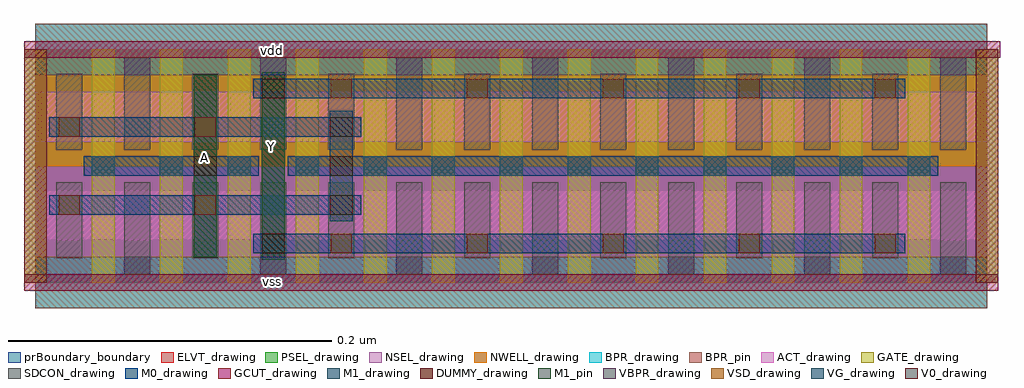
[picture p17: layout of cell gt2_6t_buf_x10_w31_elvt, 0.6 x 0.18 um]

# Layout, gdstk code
import gdstk
lib = gdstk.Library(unit=1e-6, precision=5e-10)
def R(c, l, rs):  # rectangles x0, y0, x1, y1
    for r in rs: c.add(gdstk.rectangle(r[:2], r[2:], *l))
def A(c, l, x, y, w, h, nx, ny, dx, dy):  # array of equal rectangles
    R(c, l, [(x+i*dx, y+j*dy, x+i*dx+w, y+j*dy+h) for i in range(nx) for j in range(ny)])
NWELL_drawing = (1, 0)
ACT_drawing = (2, 0)
GATE_drawing = (3, 0)
DUMMY_drawing = (4, 0)
GCUT_drawing = (5, 0)
NSEL_drawing = (6, 0)
PSEL_drawing = (7, 0)
BPR_drawing = (8, 0)
BPR_pin = (8, 251)
VBPR_drawing = (9, 0)
SDCON_drawing = (10, 0)
VSD_drawing = (11, 0)
VG_drawing = (12, 0)
M0_drawing = (20, 0)
V0_drawing = (22, 0)
M1_drawing = (25, 0)
M1_pin = (25, 251)
ELVT_drawing = (94, 0)
prBoundary_boundary = (235, 250)

gt2_6t_buf_x10_w31_elvt = lib.new_cell('gt2_6t_buf_x10_w31_elvt')
R(gt2_6t_buf_x10_w31_elvt, NWELL_drawing, [(0,0.072,0.588,0.144)])
R(gt2_6t_buf_x10_w31_elvt, ACT_drawing, [(0,0.026,0.588,0.057), (0,0.087,0.588,0.118)])
A(gt2_6t_buf_x10_w31_elvt, GATE_drawing, -0.007, 0, 0.014, 0.144, 10, 1, 0.042, 0)
A(gt2_6t_buf_x10_w31_elvt, GATE_drawing, 0.371, 0, 0.014, 0.144, 3, 1, 0.042, 0)
A(gt2_6t_buf_x10_w31_elvt, GATE_drawing, 0.455, 0, 0.014, 0.144, 3, 1, 0.042, 0)
R(gt2_6t_buf_x10_w31_elvt, GATE_drawing, [(0.539,0,0.553,0.144), (0.581,0,0.595,0.144)])
R(gt2_6t_buf_x10_w31_elvt, DUMMY_drawing, [(-0.007,0,0.007,0.144), (0.581,0,0.595,0.144)])
R(gt2_6t_buf_x10_w31_elvt, GCUT_drawing, [(-0.007,-0.005,0.595,0.005), (-0.007,0.139,0.596,0.149)])
R(gt2_6t_buf_x10_w31_elvt, NSEL_drawing, [(0,0,0.588,0.072)])
R(gt2_6t_buf_x10_w31_elvt, PSEL_drawing, [(0,0.072,0.588,0.144)])
R(gt2_6t_buf_x10_w31_elvt, BPR_drawing, [(0,-0.016,0.588,0.016), (0,0.128,0.588,0.16)])
R(gt2_6t_buf_x10_w31_elvt, BPR_pin, [(0,-0.016,0.588,0.016), (0,0.128,0.588,0.16)])
A(gt2_6t_buf_x10_w31_elvt, VBPR_drawing, 0.055, 0.005, 0.016, 0.011, 7, 2, 0.084, 0.123)
A(gt2_6t_buf_x10_w31_elvt, SDCON_drawing, 0.055, 0.005, 0.016, 0.057, 7, 2, 0.084, 0.077)
A(gt2_6t_buf_x10_w31_elvt, SDCON_drawing, 0.013, 0.015, 0.016, 0.047, 7, 2, 0.084, 0.067)
A(gt2_6t_buf_x10_w31_elvt, VSD_drawing, 0.1825, 0.018, 0.013, 0.012, 5, 2, 0.084, 0.096)
R(gt2_6t_buf_x10_w31_elvt, VSD_drawing, [(0.0145,0.042,0.0275,0.054), (0.0985,0.042,0.1115,0.054), (0.0145,0.09,0.0275,0.102), (0.0985,0.09,0.1115,0.102)])
A(gt2_6t_buf_x10_w31_elvt, VG_drawing, 0.035, 0.066, 0.014, 0.012, 13, 1, 0.042, 0)
R(gt2_6t_buf_x10_w31_elvt, M0_drawing, [(0.1345,0.018,0.5375,0.03), (0.0085,0.042,0.2015,0.054), (0.03,0.066,0.138,0.078), (0.156,0.066,0.558,0.078), (0.0085,0.09,0.2015,0.102), (0.1345,0.114,0.5375,0.126)])
A(gt2_6t_buf_x10_w31_elvt, V0_drawing, 0.182, 0.042, 0.014, 0.012, 1, 3, 0, 0.024)
R(gt2_6t_buf_x10_w31_elvt, V0_drawing, [(0.14,0.018,0.154,0.03), (0.098,0.066,0.112,0.078), (0.14,0.114,0.154,0.126)])
R(gt2_6t_buf_x10_w31_elvt, M1_drawing, [(0.14,0.014,0.154,0.13), (0.098,0.0155,0.112,0.1285), (0.182,0.038,0.196,0.106)])
R(gt2_6t_buf_x10_w31_elvt, M1_pin, [(0.14,0.014,0.154,0.13), (0.098,0.0155,0.112,0.1285)])
R(gt2_6t_buf_x10_w31_elvt, ELVT_drawing, [(0,0,0.588,0.144)])
R(gt2_6t_buf_x10_w31_elvt, prBoundary_boundary, [(0,0,0.588,0.144)])
gt2_6t_buf_x10_w31_elvt.add(gdstk.Label('vdd', (0.1465,0.1435), layer=8, texttype=251))
gt2_6t_buf_x10_w31_elvt.add(gdstk.Label('vss', (0.1465,0.0005), layer=8, texttype=251))
gt2_6t_buf_x10_w31_elvt.add(gdstk.Label('Y', (0.146,0.084), layer=25, texttype=251))
gt2_6t_buf_x10_w31_elvt.add(gdstk.Label('A', (0.1045,0.0775), layer=25, texttype=251))

lib.write_gds('gt2_6t_buf_x10_w31_elvt.gds')
